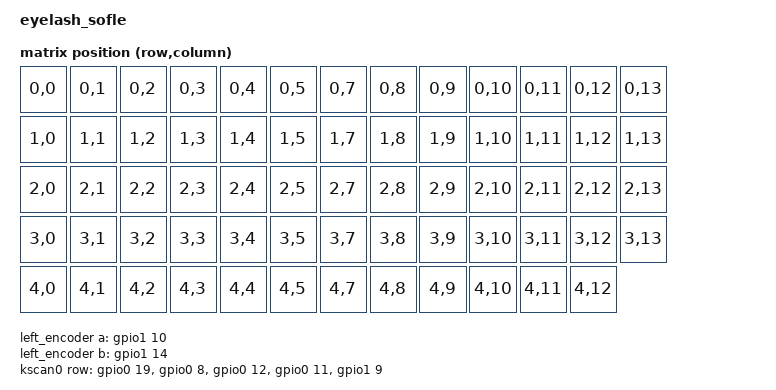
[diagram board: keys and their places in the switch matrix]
/*
*
* Copyright (c) 2021 Darryl deHaan
* SPDX-License-Identifier: MIT
*
*/

/dts-v1/;
#include <nordic/nrf52840_qiaa.dtsi>
#include <dt-bindings/led/led.h>
#include <dt-bindings/zmk/matrix_transform.h>

#include "eyelash_sofle-layouts.dtsi"

/ {
    model = "eyelash_sofle";
    compatible = "eyelashperipherals,eyelash_sofle";

    chosen {
        zephyr,code-partition = &code_partition;
        zephyr,sram = &sram0;
        zephyr,flash = &flash0;
        zmk,kscan = &kscan0;
        zmk,battery = &vbatt;
        zmk,underglow = &led_strip;
        zmk,physical-layout = &eyelash_sofle_layout;
        zmk,backlight = &backlight;
    };

	left_encoder: encoder_left {
		compatible = "alps,ec11";
		label = "LEFT_ENCODER";
		resolution = <4>;
        steps = <40>;
        a-gpios = <&gpio1 10 (GPIO_ACTIVE_HIGH | GPIO_PULL_UP)>;
	    b-gpios = <&gpio1 14 (GPIO_ACTIVE_HIGH | GPIO_PULL_UP)>;
		status = "disabled";
	};

    sensors {
		compatible = "zmk,keymap-sensors";
		sensors = <&left_encoder>;
	};

    kscan0: kscan {
        compatible = "zmk,kscan-gpio-matrix";
        wakeup-source;
        diode-direction = "col2row";
        row-gpios
            = <&gpio0 19 (GPIO_ACTIVE_HIGH | GPIO_PULL_DOWN)>
            , <&gpio0 8 (GPIO_ACTIVE_HIGH | GPIO_PULL_DOWN)>
            , <&gpio0 12 (GPIO_ACTIVE_HIGH | GPIO_PULL_DOWN)>
            , <&gpio0 11 (GPIO_ACTIVE_HIGH | GPIO_PULL_DOWN)>
            , <&gpio1 9 (GPIO_ACTIVE_HIGH | GPIO_PULL_DOWN)>
            ;
    };

    default_transform: keymap_transform_0 {
        compatible = "zmk,matrix-transform";
        columns = <14>;
        rows = <5>;
        map = <
            RC(0,0) RC(0,1) RC(0,2) RC(0,3) RC(0,4) RC(0,5)  RC(0,7) RC(0,8) RC(0,9) RC(0,10) RC(0,11) RC(0,12) RC(0,13)
            RC(1,0) RC(1,1) RC(1,2) RC(1,3) RC(1,4) RC(1,5)  RC(1,7) RC(1,8) RC(1,9) RC(1,10) RC(1,11) RC(1,12) RC(1,13)
            RC(2,0) RC(2,1) RC(2,2) RC(2,3) RC(2,4) RC(2,5)  RC(2,7) RC(2,8) RC(2,9) RC(2,10) RC(2,11) RC(2,12) RC(2,13)
            RC(3,0) RC(3,1) RC(3,2) RC(3,3) RC(3,4) RC(3,5)  RC(3,7) RC(3,8) RC(3,9) RC(3,10) RC(3,11) RC(3,12) RC(3,13)
            RC(4,0) RC(4,1) RC(4,2) RC(4,3) RC(4,4) RC(4,5)  RC(4,7) RC(4,8) RC(4,9) RC(4,10) RC(4,11) RC(4,12)
        >;
    };

    ext-power {
        compatible = "zmk,ext-power-generic";
        label = "EXT_POWER";
        control-gpios = <&gpio0 13 GPIO_ACTIVE_HIGH>;
         init-delay-ms = <50>;
    };

    vbatt: vbatt {
        compatible = "zmk,battery-nrf-vddh";
       init-delay-ms = <50>;
    };

    backlight: pwmleds {
        compatible = "pwm-leds";
        pwm_led_0 {
            pwms = <&pwm0 0 PWM_MSEC(1) PWM_POLARITY_NORMAL>;
        };
    };
};

&adc {
    status = "okay";
};

&gpiote {
    status = "okay";
};

&gpio0 {
    status = "okay";
};

&gpio1 {
    status = "okay";
};

&usbd {
    status = "okay";
    cdc_acm_uart: cdc_acm_uart {
        compatible = "zephyr,cdc-acm-uart";
    };
};

&flash0 {
    /*
     * For more information, see:
     * http://docs.zephyrproject.org/latest/devices/dts/flash_partitions.html
     */
    partitions {
        compatible = "fixed-partitions";
        #address-cells = <1>;
        #size-cells = <1>;

        sd_partition: partition@0 {
            reg = <0x00000000 0x00026000>;
        };
        code_partition: partition@26000 {
            reg = <0x00026000 0x000c6000>;
        };

        /*
         * The flash starting at 0x000ec000 and ending at
         * 0x000f3fff is reserved for use by the application.
         */

        /*
         * Storage partition will be used by FCB/LittleFS/NVS
         * if enabled.
         */
        storage_partition: partition@ec000 {
            reg = <0x000ec000 0x00008000>;
        };

        boot_partition: partition@f4000 {
            reg = <0x000f4000 0x0000c000>;
        };
    };
};

&pinctrl {
    spi3_default: spi3_default {
        group1 {
            psels = <NRF_PSEL(SPIM_MOSI, 1, 12)>; // WS2812_VEXT_DATA
        };
    };

    spi3_sleep: spi3_sleep {
        group1 {
            psels = <NRF_PSEL(SPIM_MOSI, 1, 12)>;
            low-power-enable;
        };
    };

    spi0_default: spi0_default {
        group1 {
            psels = <NRF_PSEL(SPIM_SCK, 0, 20)>,
                <NRF_PSEL(SPIM_MOSI, 0, 17)>,
                <NRF_PSEL(SPIM_MISO, 0, 25)>;
        };
    };

    spi0_sleep: spi0_sleep {
        group1 {
            psels = <NRF_PSEL(SPIM_SCK, 0, 20)>,
                <NRF_PSEL(SPIM_MOSI, 0, 17)>,
                <NRF_PSEL(SPIM_MISO, 0, 25)>;
            low-power-enable;
        };
    };

    pwm0_default: pwm0_default {
        group1 {
            psels = <NRF_PSEL(PWM_OUT0, 1, 13)>;
        };
    };
    pwm0_sleep: pwm0_sleep {
        group1 {
            psels = <NRF_PSEL(PWM_OUT0, 1, 13)>;
            low-power-enable;
        };
    };
};

&spi3 {
    compatible = "nordic,nrf-spim";
    status = "okay";

    pinctrl-0 = <&spi3_default>;
    pinctrl-1 = <&spi3_sleep>;
    pinctrl-names = "default", "sleep";

    led_strip: ws2812@0 {
        compatible = "worldsemi,ws2812-spi";

        /* SPI */
        reg = <0>; /* ignored, but necessary for SPI bindings */
        spi-max-frequency = <4000000>;

        /* WS2812 */
        chain-length = <7>; /* 6 keys have underglow at the moment */
        spi-one-frame = <0x70>;
        spi-zero-frame = <0x40>;

        color-mapping = <LED_COLOR_ID_GREEN LED_COLOR_ID_RED LED_COLOR_ID_BLUE>;
    };
};

&pwm0 {
    status = "okay";
    pinctrl-0 = <&pwm0_default>;
    pinctrl-1 = <&pwm0_sleep>;
    pinctrl-names = "default", "sleep";
};

zephyr_udc0: &usbd {
    compatible = "nordic,nrf-usbd";
    status = "okay";
};

nice_view_spi: &spi0 {
    compatible = "nordic,nrf-spim";
    pinctrl-0 = <&spi0_default>;
    pinctrl-1 = <&spi0_sleep>;
    pinctrl-names = "default", "sleep";
    cs-gpios = <&gpio0 6 GPIO_ACTIVE_HIGH>;
};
